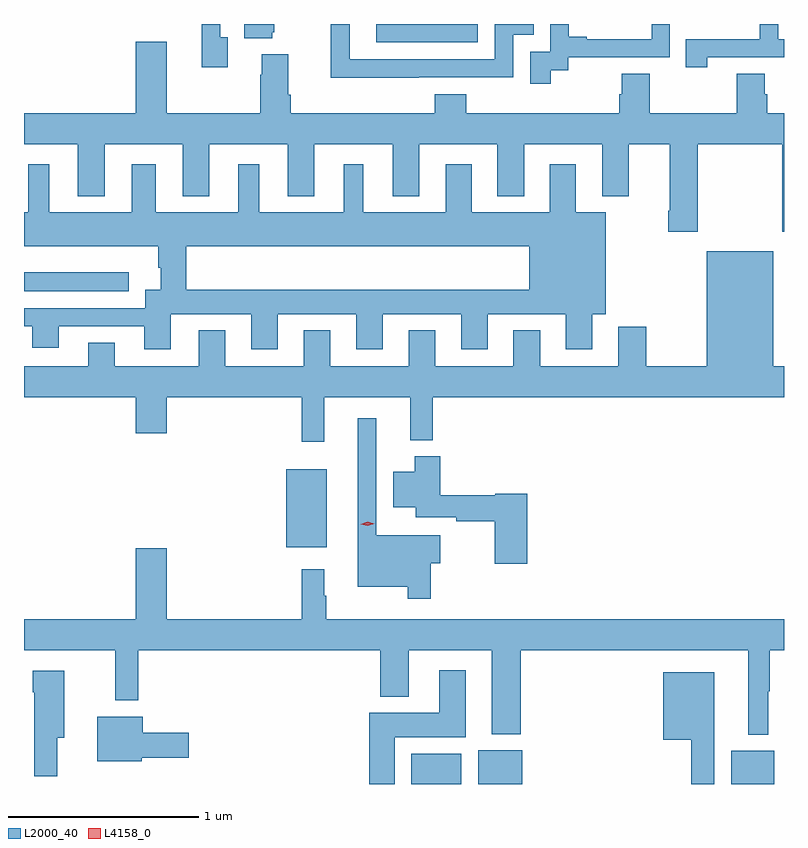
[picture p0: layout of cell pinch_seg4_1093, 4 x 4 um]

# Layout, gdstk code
import gdstk
lib = gdstk.Library(unit=1e-6, precision=1e-09)
def R(c, l, rs):  # rectangles x0, y0, x1, y1
    for r in rs: c.add(gdstk.rectangle(r[:2], r[2:], *l))
def P(c, l, *ps):  # polygons
    for p in ps: c.add(gdstk.Polygon(p, *l))
L2000_40 = (2000, 40)
L4158_0 = (4158, 0)

pinch_seg4_1093 = lib.new_cell('pinch_seg4_1093')
R(pinch_seg4_1093, L2000_40, [(406.22,793.453,406.483,793.612), (406.571,793.453,406.804,793.63), (407.903,793.453,408.13,793.627), (405.56,794.699,405.775,795.109), (404.181,796.046,404.731,796.147), (406.035,797.358,406.569,797.453)])
P(pinch_seg4_1093, L2000_40, [(406.954,797.209),(407.046,797.209),(407.046,797.277),(407.58,797.277),(407.58,797.453),(407.484,797.453),(407.484,797.373),(407.143,797.373),(407.143,797.386),(407.048,797.386),(407.048,797.453),(406.95,797.453),(406.95,797.307),(406.845,797.307),(406.845,797.139),(406.954,797.139)],
  [(405.253,797.382),(405.213,797.382),(405.213,797.453),(405.116,797.453),(405.116,797.226),(405.253,797.226)],
  [(405.488,797.409),(405.499,797.409),(405.499,797.453),(405.341,797.453),(405.341,797.378),(405.488,797.378)],
  [(406.259,797.172),(406.755,797.172),(406.755,797.397),(406.865,797.397),(406.865,797.453),(406.659,797.453),(406.659,797.268),(405.895,797.268),(405.895,797.453),(405.796,797.453),(405.796,797.171),(406.259,797.171)],
  [(407.776,797.277),(408.181,797.277),(408.181,797.373),(408.15,797.373),(408.15,797.453),(408.054,797.453),(408.054,797.373),(407.665,797.373),(407.665,797.226),(407.776,797.226)],
  [(407.365,796.82),(407.579,796.82),(407.579,796.471),(407.572,796.471),(407.572,796.359),(407.727,796.359),(407.727,796.82),(408.172,796.82),(408.172,796.359),(408.181,796.359),(408.181,796.984),(408.092,796.984),(408.092,797.082),(408.079,797.082),(408.079,797.192),(407.932,797.192),(407.932,796.984),(407.475,796.984),(407.475,797.192),(407.327,797.192),(407.327,797.082),(407.315,797.082),(407.315,796.984),(406.508,796.984),(406.508,797.083),(406.343,797.083),(406.343,796.984),(405.584,796.984),(405.584,797.08),(405.571,797.08),(405.571,797.293),(405.431,797.293),(405.431,797.186),(405.424,797.186),(405.424,796.984),(404.932,796.984),(404.932,797.359),(404.768,797.359),(404.768,796.984),(404.181,796.984),(404.181,796.82),(404.465,796.82),(404.465,796.547),(404.605,796.547),(404.605,796.82),(405.017,796.82),(405.017,796.547),(405.157,796.547),(405.157,796.82),(405.569,796.82),(405.569,796.547),(405.709,796.547),(405.709,796.82),(406.121,796.82),(406.121,796.547),(406.261,796.547),(406.261,796.82),(406.673,796.82),(406.673,796.547),(406.813,796.547),(406.813,796.82),(407.225,796.82),(407.225,796.547),(407.365,796.547)],
  [(404.953,795.926),(405.377,795.926),(405.377,795.741),(405.517,795.741),(405.517,795.926),(405.929,795.926),(405.929,795.741),(406.069,795.741),(406.069,795.926),(406.481,795.926),(406.481,795.741),(406.621,795.741),(406.621,795.926),(407.033,795.926),(407.033,795.741),(407.173,795.741),(407.173,795.926),(407.242,795.926),(407.242,796.462),(407.086,796.462),(407.086,796.714),(406.949,796.714),(406.949,796.462),(406.537,796.462),(406.537,796.714),(406.4,796.714),(406.4,796.462),(405.967,796.462),(405.967,796.714),(405.863,796.714),(405.863,796.462),(405.418,796.462),(405.418,796.714),(405.308,796.714),(405.308,796.462),(404.875,796.462),(404.875,796.714),(404.747,796.714),(404.747,796.462),(404.314,796.462),(404.314,796.714),(404.204,796.714),(404.204,796.462),(404.181,796.462),(404.181,796.283),(404.888,796.283),(404.888,796.169),(404.9,796.169),(404.9,796.054),(405.035,796.054),(405.035,796.283),(406.841,796.283),(406.841,796.054),(405.035,796.054),(404.9,796.054),(404.819,796.054),(404.819,795.957),(404.181,795.957),(404.181,795.861),(404.225,795.861),(404.225,795.749),(404.365,795.749),(404.365,795.861),(404.813,795.861),(404.813,795.741),(404.953,795.741)],
  [(405.761,795.488),(406.214,795.488),(406.214,795.263),(406.331,795.263),(406.331,795.488),(408.181,795.488),(408.181,795.652),(408.124,795.652),(408.124,796.258),(407.774,796.258),(407.774,795.652),(407.457,795.652),(407.457,795.859),(407.309,795.859),(407.309,795.652),(406.897,795.652),(406.897,795.841),(406.757,795.841),(406.757,795.652),(406.345,795.652),(406.345,795.841),(406.205,795.841),(406.205,795.652),(405.793,795.652),(405.793,795.841),(405.653,795.841),(405.653,795.652),(405.241,795.652),(405.241,795.841),(405.101,795.841),(405.101,795.652),(404.659,795.652),(404.659,795.776),(404.519,795.776),(404.519,795.652),(404.181,795.652),(404.181,795.488),(404.768,795.488),(404.768,795.3),(404.932,795.3),(404.932,795.488),(405.643,795.488),(405.643,795.255),(405.761,795.255)],
  [(406.321,794.614),(406.372,794.614),(406.372,794.761),(406.035,794.761),(406.035,795.379),(405.938,795.379),(405.938,794.492),(406.2,794.492),(406.2,794.427),(406.321,794.427)],
  [(406.829,794.98),(406.662,794.98),(406.662,794.972),(406.373,794.972),(406.373,795.178),(406.238,795.178),(406.238,795.097),(406.124,795.097),(406.124,794.909),(406.244,794.909),(406.244,794.856),(406.456,794.856),(406.456,794.836),(406.658,794.836),(406.658,794.613),(406.829,794.613)],
  [(405.772,794.444),(405.76,794.444),(405.76,794.584),(405.643,794.584),(405.643,794.32),(404.932,794.32),(404.932,794.695),(404.768,794.695),(404.768,794.32),(404.181,794.32),(404.181,794.156),(404.662,794.156),(404.662,793.893),(404.783,793.893),(404.783,794.156),(406.055,794.156),(406.055,793.913),(406.207,793.913),(406.207,794.156),(406.643,794.156),(406.643,793.715),(406.796,793.715),(406.796,794.156),(407.993,794.156),(407.993,793.712),(408.097,793.712),(408.097,793.94),(408.107,793.94),(408.107,794.156),(408.181,794.156),(408.181,794.32),(405.772,794.32)],
  [(406.132,793.7),(406.507,793.7),(406.507,794.053),(406.367,794.053),(406.367,793.828),(405.998,793.828),(405.998,793.453),(406.132,793.453)],
  [(404.356,793.697),(404.392,793.697),(404.392,794.05),(404.227,794.05),(404.227,793.937),(404.234,793.937),(404.234,793.494),(404.356,793.494)],
  [(407.815,794.041),(407.546,794.041),(407.546,793.685),(407.694,793.685),(407.694,793.453),(407.815,793.453)],
  [(404.802,793.592),(405.049,793.592),(405.049,793.722),(404.806,793.722),(404.806,793.807),(404.567,793.807),(404.567,793.574),(404.802,793.574)])
P(pinch_seg4_1093, L4158_0, [(405.99,794.812),(405.954,794.82),(405.954,794.82),(405.954,794.82),(405.989,794.832),(406.025,794.823),(406.025,794.823),(406.025,794.823)])

lib.write_gds('pinch_seg4_1093.gds')
